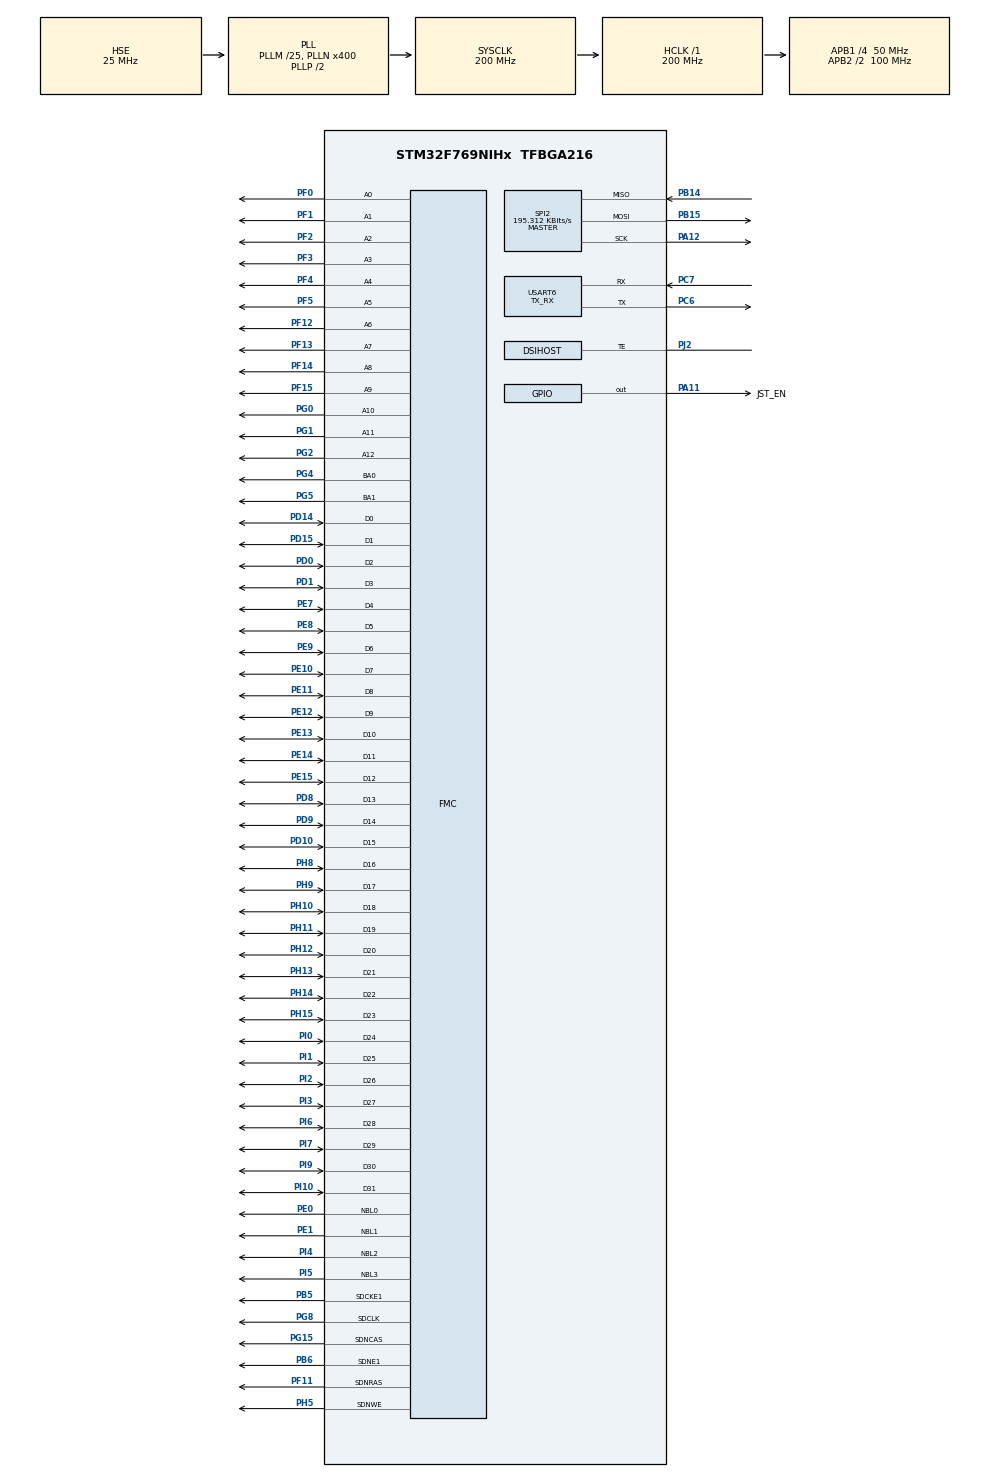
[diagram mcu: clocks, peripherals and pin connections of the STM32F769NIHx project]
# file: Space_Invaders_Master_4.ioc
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CORTEX_M7.CPU_DCache=Enabled
CORTEX_M7.CPU_ICache=Enabled
DSIHOST_CKN.Mode=DSIHost_Adapted_TE
DSIHOST_CKN.Signal=DSIHOST_CKN
DSIHOST_CKP.Mode=DSIHost_Adapted_TE
DSIHOST_CKP.Signal=DSIHOST_CKP
DSIHOST_D0N.Mode=DSIHost_Adapted_TE
DSIHOST_D0N.Signal=DSIHOST_D0N
DSIHOST_D0P.Mode=DSIHost_Adapted_TE
DSIHOST_D0P.Signal=DSIHOST_D0P
DSIHOST_D1N.Mode=DSIHost_Adapted_TE
DSIHOST_D1N.Signal=DSIHOST_D1N
DSIHOST_D1P.Mode=DSIHost_Adapted_TE
DSIHOST_D1P.Signal=DSIHOST_D1P
Dma.Request0=USART6_RX
Dma.Request1=USART6_TX
Dma.USART6_RX.0.Direction=DMA_PERIPH_TO_MEMORY
Dma.USART6_RX.0.FIFOMode=DMA_FIFOMODE_DISABLE
Dma.USART6_RX.0.Instance=DMA2_Stream1
Dma.USART6_RX.0.MemDataAlignment=DMA_MDATAALIGN_BYTE
Dma.USART6_RX.0.MemInc=DMA_MINC_ENABLE
Dma.USART6_RX.0.Mode=DMA_CIRCULAR
Dma.USART6_RX.0.PeriphDataAlignment=DMA_PDATAALIGN_BYTE
Dma.USART6_RX.0.PeriphInc=DMA_PINC_DISABLE
Dma.USART6_RX.0.Priority=DMA_PRIORITY_LOW
Dma.USART6_TX.1.Direction=DMA_MEMORY_TO_PERIPH
Dma.USART6_TX.1.FIFOMode=DMA_FIFOMODE_DISABLE
Dma.USART6_TX.1.Instance=DMA2_Stream6
Dma.USART6_TX.1.MemDataAlignment=DMA_MDATAALIGN_BYTE
Dma.USART6_TX.1.MemInc=DMA_MINC_ENABLE
Dma.USART6_TX.1.Mode=DMA_CIRCULAR
Dma.USART6_TX.1.PeriphDataAlignment=DMA_PDATAALIGN_BYTE
Dma.USART6_TX.1.PeriphInc=DMA_PINC_DISABLE
Dma.USART6_TX.1.Priority=DMA_PRIORITY_LOW
FREERTOS.INCLUDE_vTaskDelayUntil=1
FREERTOS.Tasks01=IdleTask,-3,128,StartIdleTask,Default,NULL,Dynamic,NULL,NULL
Mcu.Family=STM32F7
Mcu.Name=STM32F769NIHx
Mcu.Package=TFBGA216
NVIC.DMA2_Stream1_IRQn=true\:5\:0\:false\:false\:true\:true\:false\:true
NVIC.DMA2_Stream6_IRQn=true\:5\:0\:false\:false\:true\:true\:false\:true
NVIC.PriorityGroup=NVIC_PRIORITYGROUP_4
NVIC.TIM7_IRQn=true\:0\:0\:false\:false\:true\:false\:false\:true
NVIC.TimeBase=TIM7_IRQn
NVIC.TimeBaseIP=TIM7
NVIC.USART6_IRQn=true\:5\:0\:false\:false\:true\:true\:true\:true
PA11.GPIO_Label=JST_EN
PA11.PinState=GPIO_PIN_SET
PA11.Signal=GPIO_Output
PA12.Mode=Full_Duplex_Master
PA12.Signal=SPI2_SCK
PB14.Mode=Full_Duplex_Master
PB14.Signal=SPI2_MISO
PB15.Mode=Full_Duplex_Master
PB15.Signal=SPI2_MOSI
PB5.Mode=SdramChipSelect2_1
PB5.Signal=FMC_SDCKE1
PB6.Mode=SdramChipSelect2_1
PB6.Signal=FMC_SDNE1
PC6.GPIO_Speed=GPIO_SPEED_FREQ_VERY_HIGH
PC6.Mode=Asynchronous
PC6.Signal=USART6_TX
PC7.Mode=Asynchronous
PC7.Signal=USART6_RX
PD0.Signal=FMC_D2_DA2
PD1.Signal=FMC_D3_DA3
PD10.Signal=FMC_D15_DA15
PD14.Signal=FMC_D0_DA0
PD15.Signal=FMC_D1_DA1
PD8.Signal=FMC_D13_DA13
PD9.Signal=FMC_D14_DA14
PE0.Signal=FMC_NBL0
PE1.Signal=FMC_NBL1
PE10.Signal=FMC_D7_DA7
PE11.Signal=FMC_D8_DA8
PE12.Signal=FMC_D9_DA9
PE13.Signal=FMC_D10_DA10
PE14.Signal=FMC_D11_DA11
PE15.Signal=FMC_D12_DA12
PE7.Signal=FMC_D4_DA4
PE8.Signal=FMC_D5_DA5
PE9.Signal=FMC_D6_DA6
PF0.Signal=FMC_A0
PF1.Signal=FMC_A1
PF11.Signal=FMC_SDNRAS
PF12.Signal=FMC_A6
PF13.Signal=FMC_A7
PF14.Signal=FMC_A8
PF15.Signal=FMC_A9
PF2.Signal=FMC_A2
PF3.Signal=FMC_A3
PF4.Signal=FMC_A4
PF5.Signal=FMC_A5
PG0.Signal=FMC_A10
PG1.Signal=FMC_A11
PG15.Signal=FMC_SDNCAS
PG2.Signal=FMC_A12
PG4.Signal=FMC_A14_BA0
PG5.Signal=FMC_A15_BA1
PG8.Signal=FMC_SDCLK
PH0/OSC_IN.Mode=HSE-External-Oscillator
PH0/OSC_IN.Signal=RCC_OSC_IN
PH1/OSC_OUT.Mode=HSE-External-Oscillator
PH1/OSC_OUT.Signal=RCC_OSC_OUT
PH10.Signal=FMC_D18
PH11.Signal=FMC_D19
PH12.Signal=FMC_D20
PH13.Signal=FMC_D21
PH14.Signal=FMC_D22
PH15.Signal=FMC_D23
PH5.Signal=FMC_SDNWE
PH8.Signal=FMC_D16
PH9.Signal=FMC_D17
PI0.Signal=FMC_D24
PI1.Signal=FMC_D25
PI10.Signal=FMC_D31
PI2.Signal=FMC_D26
PI3.Signal=FMC_D27
PI4.Signal=FMC_NBL2
PI5.Signal=FMC_NBL3
PI6.Signal=FMC_D28
PI7.Signal=FMC_D29
PI9.Signal=FMC_D30
PJ2.Mode=DSIHost_Adapted_TE
PJ2.Signal=DSIHOST_TE
ProjectManager.HeapSize=0x200
ProjectManager.StackSize=0x400
ProjectManager.TargetToolchain=STM32CubeIDE
RCC.AHBFreq_Value=200000000
RCC.APB1CLKDivider=RCC_HCLK_DIV4
RCC.APB1Freq_Value=50000000
RCC.APB1TimFreq_Value=100000000
RCC.APB2CLKDivider=RCC_HCLK_DIV2
RCC.APB2Freq_Value=100000000
RCC.APB2TimFreq_Value=200000000
RCC.CortexFreq_Value=200000000
RCC.HCLKFreq_Value=200000000
RCC.HSE_VALUE=25000000
RCC.HSI_VALUE=16000000
RCC.LSE_VALUE=32768
RCC.PLLI2SN=96
RCC.PLLM=25
RCC.PLLN=400
RCC.PLLR=7
RCC.PLLSourceVirtual=RCC_PLLSOURCE_HSE
RCC.SYSCLKFreq_VALUE=200000000
RCC.SYSCLKSource=RCC_SYSCLKSOURCE_PLLCLK
RCC.USBFreq_Value=200000000
RCC.VCOOutputFreq_Value=400000000
SH.FMC_A0.0=FMC_A0,13b-sda1
SH.FMC_A1.0=FMC_A1,13b-sda1
SH.FMC_A10.0=FMC_A10,13b-sda1
SH.FMC_A11.0=FMC_A11,13b-sda1
SH.FMC_A12.0=FMC_A12,13b-sda1
SH.FMC_A14_BA0.0=FMC_BA0,FourSdramBanks1
SH.FMC_A15_BA1.0=FMC_BA1,FourSdramBanks1
SH.FMC_A2.0=FMC_A2,13b-sda1
SH.FMC_A3.0=FMC_A3,13b-sda1
SH.FMC_A4.0=FMC_A4,13b-sda1
SH.FMC_A5.0=FMC_A5,13b-sda1
SH.FMC_A6.0=FMC_A6,13b-sda1
SH.FMC_A7.0=FMC_A7,13b-sda1
SH.FMC_A8.0=FMC_A8,13b-sda1
SH.FMC_A9.0=FMC_A9,13b-sda1
SH.FMC_D0_DA0.0=FMC_D0,sd-32b-d1
SH.FMC_D10_DA10.0=FMC_D10,sd-32b-d1
SH.FMC_D11_DA11.0=FMC_D11,sd-32b-d1
SH.FMC_D12_DA12.0=FMC_D12,sd-32b-d1
SH.FMC_D13_DA13.0=FMC_D13,sd-32b-d1
SH.FMC_D14_DA14.0=FMC_D14,sd-32b-d1
SH.FMC_D15_DA15.0=FMC_D15,sd-32b-d1
SH.FMC_D16.0=FMC_D16,sd-32b-d1
SH.FMC_D17.0=FMC_D17,sd-32b-d1
SH.FMC_D18.0=FMC_D18,sd-32b-d1
SH.FMC_D19.0=FMC_D19,sd-32b-d1
SH.FMC_D1_DA1.0=FMC_D1,sd-32b-d1
SH.FMC_D20.0=FMC_D20,sd-32b-d1
SH.FMC_D21.0=FMC_D21,sd-32b-d1
SH.FMC_D22.0=FMC_D22,sd-32b-d1
SH.FMC_D23.0=FMC_D23,sd-32b-d1
SH.FMC_D24.0=FMC_D24,sd-32b-d1
SH.FMC_D25.0=FMC_D25,sd-32b-d1
SH.FMC_D26.0=FMC_D26,sd-32b-d1
SH.FMC_D27.0=FMC_D27,sd-32b-d1
SH.FMC_D28.0=FMC_D28,sd-32b-d1
SH.FMC_D29.0=FMC_D29,sd-32b-d1
SH.FMC_D2_DA2.0=FMC_D2,sd-32b-d1
SH.FMC_D30.0=FMC_D30,sd-32b-d1
SH.FMC_D31.0=FMC_D31,sd-32b-d1
SH.FMC_D3_DA3.0=FMC_D3,sd-32b-d1
SH.FMC_D4_DA4.0=FMC_D4,sd-32b-d1
SH.FMC_D5_DA5.0=FMC_D5,sd-32b-d1
SH.FMC_D6_DA6.0=FMC_D6,sd-32b-d1
SH.FMC_D7_DA7.0=FMC_D7,sd-32b-d1
SH.FMC_D8_DA8.0=FMC_D8,sd-32b-d1
SH.FMC_D9_DA9.0=FMC_D9,sd-32b-d1
SH.FMC_NBL0.0=FMC_NBL0,Sd4ByteEnable1
SH.FMC_NBL1.0=FMC_NBL1,Sd4ByteEnable1
SH.FMC_NBL2.0=FMC_NBL2,Sd4ByteEnable1
SH.FMC_NBL3.0=FMC_NBL3,Sd4ByteEnable1
SH.FMC_SDCLK.0=FMC_SDCLK,13b-sda1
SH.FMC_SDNCAS.0=FMC_SDNCAS,13b-sda1
SH.FMC_SDNRAS.0=FMC_SDNRAS,13b-sda1
SH.FMC_SDNWE.0=FMC_SDNWE,13b-sda1
SPI2.BaudRatePrescaler=SPI_BAUDRATEPRESCALER_256
SPI2.CLKPhase=SPI_PHASE_1EDGE
SPI2.CalculateBaudRate=195.312 KBits/s
SPI2.DataSize=SPI_DATASIZE_8BIT
SPI2.Direction=SPI_DIRECTION_2LINES
SPI2.Mode=SPI_MODE_MASTER
SPI2.NSSPMode=SPI_NSS_PULSE_ENABLE
SPI2.VirtualType=VM_MASTER
USART6.DMADisableonRxErrorParam=ADVFEATURE_DMA_DISABLEONRXERROR
USART6.Mode=MODE_TX_RX
USART6.OverrunDisableParam=ADVFEATURE_OVERRUN_DISABLE
USART6.VirtualMode-Asynchronous=VM_ASYNC
VP_DMA2D_VS_DMA2D.Mode=DMA2D_Activate
VP_FREERTOS_VS_CMSIS_V1.Mode=CMSIS_V1
VP_LTDC_DSIMode.Mode=RGB888
VP_SYS_VS_tim7.Mode=TIM7
board=STM32F769I-DISCO

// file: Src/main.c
/* USER CODE BEGIN Header */
/**
 ******************************************************************************
 * @file           : main.c
 * @brief          : Main program body
 ******************************************************************************
 * @attention
 *
 * <h2><center>&copy; Copyright (c) 2019 STMicroelectronics.
 * All rights reserved.</center></h2>
 *
 * This software component is licensed by ST under BSD 3-Clause license,
 * the "License"; You may not use this file except in compliance with the
 * License. You may obtain a copy of the License at:
 *                        opensource.org/licenses/BSD-3-Clause
 *
 ******************************************************************************
 */
/* USER CODE END Header */

#include "main.h"
#include "cmsis_os.h"

/* USER CODE BEGIN Includes */
#include "stm32f769i_discovery.h"
#include "stm32f769i_discovery_lcd.h"
#include <stdio.h>
#include <stdbool.h>
#include "bmp_lib.h"
//#include "invader_0.h"
/* USER CODE END Includes */

/* USER CODE BEGIN PTD */
typedef enum id {
	X_AXIS,
	A_BUTTON
}Id;

typedef struct joystick {
	Id id;
	uint8_t val;

}Joystick;

typedef enum status {
	OFF,
	DESTROYED,
	SHOT,
	LIVE
}Status;

typedef struct invader {
	Status status;
	uint16_t x;
	uint16_t y;
}Invader;

/* USER CODE END PTD */

DMA2D_HandleTypeDef hdma2d;

DSI_HandleTypeDef hdsi;

LTDC_HandleTypeDef hltdc;

SPI_HandleTypeDef hspi2;

UART_HandleTypeDef huart6;
DMA_HandleTypeDef hdma_usart6_rx;
DMA_HandleTypeDef hdma_usart6_tx;

SDRAM_HandleTypeDef hsdram1;

osThreadId IdleTaskHandle;
/* USER CODE BEGIN PV */
const uint8_t x_unit_px = 6;
const uint8_t y_unit_px = 20;
Invader invader[11][5];
bool flag_endgame = true;
bool flag_tx_DMA = false;
bool flag_half_tx_DMA = false;
bool flag_rx_DMA = false;
bool flag_half_rx_DMA = false;
uint8_t data2receive[4];
uint8_t data2send[200];
uint16_t x_master = 300;
uint16_t y_master = 460;
uint16_t x_laser;
uint16_t y_laser;

char a[100];
char x[100];
char y[100];
//uint16_t joy_master = 0;
//uint16_t button_joy_master;

//uint16_t y_slave = 460;

//uint16_t y_laser_2;

/* USER CODE END PV */

void SystemClock_Config(void);
static void MX_GPIO_Init(void);
static void MX_DMA_Init(void);
static void MX_DMA2D_Init(void);
static void MX_FMC_Init(void);
static void MX_LTDC_Init(void);
static void MX_DSIHOST_DSI_Init(void);
static void MX_USART6_UART_Init(void);
static void MX_SPI2_Init(void);
void StartIdleTask(void const * argument);

/* USER CODE BEGIN PFP */
static void LCD_Config(void);
void get_joystick_master_SPI_sdr(void * parameters);
void receive_slave_joystick_UART(void * parameters);
void send_slave_UART(void * parameters);
void cannon_master_rcv(void * parameters);
void cannon_slave_rcv(void * parameters);
void invaders_sdr (void *parameters);
//void send_slave(void);
//void get_joystick_master(void * parameters);
//void lcd_cannon_player_1(void);
//void lcd_cannon_player_2(void);
//void lcd_laser_1(void);
//void lcd_laser_2(void);
//void lcd_laser_1 (void* parameters);
//void lcd_cannon_player_1 (void* parameters);

/* USER CODE END PFP */

/* USER CODE BEGIN 0 */
xQueueHandle xQueue_joy_master;
xQueueHandle xQueue_joy_slave;
xQueueHandle xQueue_invaders;

/* USER CODE END 0 */

int main(void)
{

  /* Enable I-Cache---------------------------------------------------------*/
  SCB_EnableICache();

  /* Enable D-Cache---------------------------------------------------------*/
  SCB_EnableDCache();

  /* MCU Configuration--------------------------------------------------------*/

  /* Reset of all peripherals, Initializes the Flash interface and the Systick. */
  HAL_Init();

  /* Configure the system clock */
  SystemClock_Config();

  /* Initialize all configured peripherals */
  MX_GPIO_Init();
  MX_DMA_Init();
  MX_DMA2D_Init();
  MX_FMC_Init();
  MX_LTDC_Init();
  MX_DSIHOST_DSI_Init();
  MX_USART6_UART_Init();
  MX_SPI2_Init();
  /* USER CODE BEGIN 2 */
	//
	//  BSP_LED_Init(LED1);
	BSP_LED_Init(LED2);

	//  BSP_PB_Init(BUTTON_USER, BUTTON_MODE_GPIO);
	LCD_Config();

  /* USER CODE END 2 */

  /* USER CODE BEGIN RTOS_QUEUES */
	/* add queues, ... */
	xQueue_joy_slave = xQueueCreate(10, sizeof(Joystick));
	xQueue_joy_master = xQueueCreate(10, sizeof(Joystick));
	xQueue_invaders = xQueueCreate(10, sizeof(Invader));
  /* USER CODE END RTOS_QUEUES */

  /* Create the thread(s) */
  /* definition and creation of IdleTask */
  osThreadDef(IdleTask, StartIdleTask, osPriorityIdle, 0, 128);
  IdleTaskHandle = osThreadCreate(osThread(IdleTask), NULL);

  /* USER CODE BEGIN RTOS_THREADS */
	/* add threads, ... */
	//if (xQueue_joy_slave != NULL) {

  	xTaskCreate(get_joystick_master_SPI_sdr, "get Joystick MASTER SPI", 400, NULL, tskIDLE_PRIORITY + 3, NULL);
	xTaskCreate(receive_slave_joystick_UART, "get Joystick Slave UART", 400, NULL, tskIDLE_PRIORITY + 3, NULL);
	xTaskCreate(send_slave_UART, "Send to Slave", 400, NULL, tskIDLE_PRIORITY + 3, NULL);
	xTaskCreate(cannon_master_rcv, "Joystick_master input", 400, NULL, tskIDLE_PRIORITY + 2, NULL);
	xTaskCreate(cannon_slave_rcv, "Joystick Slave input", 400, NULL, tskIDLE_PRIORITY + 2, NULL);
	xTaskCreate(invaders_sdr,"Invaders", 1000, NULL, tskIDLE_PRIORITY + 1, NULL);

  /* USER CODE END RTOS_THREADS */

  /* Start scheduler */
  osKernelStart();

  /* We should never get here as control is now taken by the scheduler */

  /* Infinite loop */
  /* USER CODE BEGIN WHILE */
	//}

	while (1)
	{

    /* USER CODE END WHILE */

	}
}

void SystemClock_Config(void)
{
  RCC_OscInitTypeDef RCC_OscInitStruct = {0};
  RCC_ClkInitTypeDef RCC_ClkInitStruct = {0};
  RCC_PeriphCLKInitTypeDef PeriphClkInitStruct = {0};

  /** Configure the main internal regulator output voltage
  */
  __HAL_RCC_PWR_CLK_ENABLE();
  __HAL_PWR_VOLTAGESCALING_CONFIG(PWR_REGULATOR_VOLTAGE_SCALE1);
  /** Initializes the CPU, AHB and APB busses clocks
  */
  RCC_OscInitStruct.OscillatorType = RCC_OSCILLATORTYPE_HSE;
  RCC_OscInitStruct.HSEState = RCC_HSE_ON;
  RCC_OscInitStruct.PLL.PLLState = RCC_PLL_ON;
  RCC_OscInitStruct.PLL.PLLSource = RCC_PLLSOURCE_HSE;
  RCC_OscInitStruct.PLL.PLLM = 25;
  RCC_OscInitStruct.PLL.PLLN = 400;
  RCC_OscInitStruct.PLL.PLLP = RCC_PLLP_DIV2;
  RCC_OscInitStruct.PLL.PLLQ = 2;
  if (HAL_RCC_OscConfig(&RCC_OscInitStruct) != HAL_OK)
  {
    Error_Handler();
  }
  /** Activate the Over-Drive mode
  */
  if (HAL_PWREx_EnableOverDrive() != HAL_OK)
  {
    Error_Handler();
  }
  /** Initializes the CPU, AHB and APB busses clocks
  */
  RCC_ClkInitStruct.ClockType = RCC_CLOCKTYPE_HCLK|RCC_CLOCKTYPE_SYSCLK
                              |RCC_CLOCKTYPE_PCLK1|RCC_CLOCKTYPE_PCLK2;
  RCC_ClkInitStruct.SYSCLKSource = RCC_SYSCLKSOURCE_PLLCLK;
  RCC_ClkInitStruct.AHBCLKDivider = RCC_SYSCLK_DIV1;
  RCC_ClkInitStruct.APB1CLKDivider = RCC_HCLK_DIV4;
  RCC_ClkInitStruct.APB2CLKDivider = RCC_HCLK_DIV2;

  if (HAL_RCC_ClockConfig(&RCC_ClkInitStruct, FLASH_LATENCY_6) != HAL_OK)
  {
    Error_Handler();
  }
  PeriphClkInitStruct.PeriphClockSelection = RCC_PERIPHCLK_LTDC|RCC_PERIPHCLK_USART6;
  PeriphClkInitStruct.PLLSAI.PLLSAIN = 192;
  PeriphClkInitStruct.PLLSAI.PLLSAIR = 2;
  PeriphClkInitStruct.PLLSAI.PLLSAIQ = 2;
  PeriphClkInitStruct.PLLSAI.PLLSAIP = RCC_PLLSAIP_DIV2;
  PeriphClkInitStruct.PLLSAIDivQ = 1;
  PeriphClkInitStruct.PLLSAIDivR = RCC_PLLSAIDIVR_2;
  PeriphClkInitStruct.Usart6ClockSelection = RCC_USART6CLKSOURCE_PCLK2;
  if (HAL_RCCEx_PeriphCLKConfig(&PeriphClkInitStruct) != HAL_OK)
  {
    Error_Handler();
  }
}

static void MX_DMA2D_Init(void)
{

  hdma2d.Instance = DMA2D;
  hdma2d.Init.Mode = DMA2D_M2M;
  hdma2d.Init.ColorMode = DMA2D_OUTPUT_ARGB8888;
  hdma2d.Init.OutputOffset = 0;
  hdma2d.LayerCfg[1].InputOffset = 0;
  hdma2d.LayerCfg[1].InputColorMode = DMA2D_INPUT_ARGB8888;
  hdma2d.LayerCfg[1].AlphaMode = DMA2D_NO_MODIF_ALPHA;
  hdma2d.LayerCfg[1].InputAlpha = 0;
  hdma2d.LayerCfg[1].AlphaInverted = DMA2D_REGULAR_ALPHA;
  hdma2d.LayerCfg[1].RedBlueSwap = DMA2D_RB_REGULAR;
  if (HAL_DMA2D_Init(&hdma2d) != HAL_OK)
  {
    Error_Handler();
  }
  if (HAL_DMA2D_ConfigLayer(&hdma2d, 1) != HAL_OK)
  {
    Error_Handler();
  }

}

static void MX_DSIHOST_DSI_Init(void)
{

  DSI_PLLInitTypeDef PLLInit = {0};
  DSI_HOST_TimeoutTypeDef HostTimeouts = {0};
  DSI_PHY_TimerTypeDef PhyTimings = {0};
  DSI_LPCmdTypeDef LPCmd = {0};
  DSI_CmdCfgTypeDef CmdCfg = {0};

  hdsi.Instance = DSI;
  hdsi.Init.AutomaticClockLaneControl = DSI_AUTO_CLK_LANE_CTRL_DISABLE;
  hdsi.Init.TXEscapeCkdiv = 4;
  hdsi.Init.NumberOfLanes = DSI_ONE_DATA_LANE;
  PLLInit.PLLNDIV = 20;
  PLLInit.PLLIDF = DSI_PLL_IN_DIV1;
  PLLInit.PLLODF = DSI_PLL_OUT_DIV1;
  if (HAL_DSI_Init(&hdsi, &PLLInit) != HAL_OK)
  {
    Error_Handler();
  }
  HostTimeouts.TimeoutCkdiv = 1;
  HostTimeouts.HighSpeedTransmissionTimeout = 0;
  HostTimeouts.LowPowerReceptionTimeout = 0;
  HostTimeouts.HighSpeedReadTimeout = 0;
  HostTimeouts.LowPowerReadTimeout = 0;
  HostTimeouts.HighSpeedWriteTimeout = 0;
  HostTimeouts.HighSpeedWritePrespMode = DSI_HS_PM_DISABLE;
  HostTimeouts.LowPowerWriteTimeout = 0;
  HostTimeouts.BTATimeout = 0;
  if (HAL_DSI_ConfigHostTimeouts(&hdsi, &HostTimeouts) != HAL_OK)
  {
    Error_Handler();
  }
  PhyTimings.ClockLaneHS2LPTime = 28;
  PhyTimings.ClockLaneLP2HSTime = 33;
  PhyTimings.DataLaneHS2LPTime = 15;
  PhyTimings.DataLaneLP2HSTime = 25;
  PhyTimings.DataLaneMaxReadTime = 0;
  PhyTimings.StopWaitTime = 0;
  if (HAL_DSI_ConfigPhyTimer(&hdsi, &PhyTimings) != HAL_OK)
  {
    Error_Handler();
  }
  if (HAL_DSI_ConfigFlowControl(&hdsi, DSI_FLOW_CONTROL_BTA) != HAL_OK)
  {
    Error_Handler();
  }
  if (HAL_DSI_SetLowPowerRXFilter(&hdsi, 10000) != HAL_OK)
  {
    Error_Handler();
  }
  if (HAL_DSI_ConfigErrorMonitor(&hdsi, HAL_DSI_ERROR_NONE) != HAL_OK)
  {
    Error_Handler();
  }
  LPCmd.LPGenShortWriteNoP = DSI_LP_GSW0P_DISABLE;
  LPCmd.LPGenShortWriteOneP = DSI_LP_GSW1P_DISABLE;
  LPCmd.LPGenShortWriteTwoP = DSI_LP_GSW2P_DISABLE;
  LPCmd.LPGenShortReadNoP = DSI_LP_GSR0P_DISABLE;
  LPCmd.LPGenShortReadOneP = DSI_LP_GSR1P_DISABLE;
  LPCmd.LPGenShortReadTwoP = DSI_LP_GSR2P_DISABLE;
  LPCmd.LPGenLongWrite = DSI_LP_GLW_DISABLE;
  LPCmd.LPDcsShortWriteNoP = DSI_LP_DSW0P_DISABLE;
  LPCmd.LPDcsShortWriteOneP = DSI_LP_DSW1P_DISABLE;
  LPCmd.LPDcsShortReadNoP = DSI_LP_DSR0P_DISABLE;
  LPCmd.LPDcsLongWrite = DSI_LP_DLW_DISABLE;
  LPCmd.LPMaxReadPacket = DSI_LP_MRDP_DISABLE;
  LPCmd.AcknowledgeRequest = DSI_ACKNOWLEDGE_DISABLE;
  if (HAL_DSI_ConfigCommand(&hdsi, &LPCmd) != HAL_OK)
  {
    Error_Handler();
  }
  CmdCfg.VirtualChannelID = 0;
  CmdCfg.ColorCoding = DSI_RGB888;
  CmdCfg.CommandSize = 640;
  CmdCfg.TearingEffectSource = DSI_TE_EXTERNAL;
  CmdCfg.TearingEffectPolarity = DSI_TE_RISING_EDGE;
  CmdCfg.HSPolarity = DSI_HSYNC_ACTIVE_LOW;
  CmdCfg.VSPolarity = DSI_VSYNC_ACTIVE_LOW;
  CmdCfg.DEPolarity = DSI_DATA_ENABLE_ACTIVE_HIGH;
  CmdCfg.VSyncPol = DSI_VSYNC_FALLING;
  CmdCfg.AutomaticRefresh = DSI_AR_ENABLE;
  CmdCfg.TEAcknowledgeRequest = DSI_TE_ACKNOWLEDGE_DISABLE;
  if (HAL_DSI_ConfigAdaptedCommandMode(&hdsi, &CmdCfg) != HAL_OK)
  {
    Error_Handler();
  }
  if (HAL_DSI_SetGenericVCID(&hdsi, 0) != HAL_OK)
  {
    Error_Handler();
  }

}

static void MX_LTDC_Init(void)
{

  LTDC_LayerCfgTypeDef pLayerCfg = {0};
  LTDC_LayerCfgTypeDef pLayerCfg1 = {0};

  hltdc.Instance = LTDC;
  hltdc.Init.HSPolarity = LTDC_HSPOLARITY_AL;
  hltdc.Init.VSPolarity = LTDC_VSPOLARITY_AL;
  hltdc.Init.DEPolarity = LTDC_DEPOLARITY_AL;
  hltdc.Init.PCPolarity = LTDC_PCPOLARITY_IPC;
  hltdc.Init.HorizontalSync = 7;
  hltdc.Init.VerticalSync = 3;
  hltdc.Init.AccumulatedHBP = 14;
  hltdc.Init.AccumulatedVBP = 5;
  hltdc.Init.AccumulatedActiveW = 654;
  hltdc.Init.AccumulatedActiveH = 485;
  hltdc.Init.TotalWidth = 660;
  hltdc.Init.TotalHeigh = 487;
  hltdc.Init.Backcolor.Blue = 0;
  hltdc.Init.Backcolor.Green = 0;
  hltdc.Init.Backcolor.Red = 0;
  if (HAL_LTDC_Init(&hltdc) != HAL_OK)
  {
    Error_Handler();
  }
  pLayerCfg.WindowX0 = 0;
  pLayerCfg.WindowX1 = 0;
  pLayerCfg.WindowY0 = 0;
  pLayerCfg.WindowY1 = 0;
  pLayerCfg.PixelFormat = LTDC_PIXEL_FORMAT_ARGB8888;
  pLayerCfg.Alpha = 0;
  pLayerCfg.Alpha0 = 0;
  pLayerCfg.BlendingFactor1 = LTDC_BLENDING_FACTOR1_CA;
  pLayerCfg.BlendingFactor2 = LTDC_BLENDING_FACTOR2_CA;
  pLayerCfg.FBStartAdress = 0;
  pLayerCfg.ImageWidth = 0;
  pLayerCfg.ImageHeight = 0;
  pLayerCfg.Backcolor.Blue = 0;
  pLayerCfg.Backcolor.Green = 0;
  pLayerCfg.Backcolor.Red = 0;
  if (HAL_LTDC_ConfigLayer(&hltdc, &pLayerCfg, 0) != HAL_OK)
  {
    Error_Handler();
  }
  pLayerCfg1.WindowX0 = 0;
  pLayerCfg1.WindowX1 = 0;
  pLayerCfg1.WindowY0 = 0;
  pLayerCfg1.WindowY1 = 0;
  pLayerCfg1.PixelFormat = LTDC_PIXEL_FORMAT_ARGB8888;
  pLayerCfg1.Alpha = 0;
  pLayerCfg1.Alpha0 = 0;
  pLayerCfg1.BlendingFactor1 = LTDC_BLENDING_FACTOR1_CA;
  pLayerCfg1.BlendingFactor2 = LTDC_BLENDING_FACTOR2_CA;
  pLayerCfg1.FBStartAdress = 0;
  pLayerCfg1.ImageWidth = 0;
  pLayerCfg1.ImageHeight = 0;
  pLayerCfg1.Backcolor.Blue = 0;
  pLayerCfg1.Backcolor.Green = 0;
  pLayerCfg1.Backcolor.Red = 0;
  if (HAL_LTDC_ConfigLayer(&hltdc, &pLayerCfg1, 1) != HAL_OK)
  {
    Error_Handler();
  }

}

static void MX_SPI2_Init(void)
{

  /* SPI2 parameter configuration*/
  hspi2.Instance = SPI2;
  hspi2.Init.Mode = SPI_MODE_MASTER;
  hspi2.Init.Direction = SPI_DIRECTION_2LINES;
  hspi2.Init.DataSize = SPI_DATASIZE_8BIT;
  hspi2.Init.CLKPolarity = SPI_POLARITY_LOW;
  hspi2.Init.CLKPhase = SPI_PHASE_1EDGE;
  hspi2.Init.NSS = SPI_NSS_SOFT;
  hspi2.Init.BaudRatePrescaler = SPI_BAUDRATEPRESCALER_256;
  hspi2.Init.FirstBit = SPI_FIRSTBIT_MSB;
  hspi2.Init.TIMode = SPI_TIMODE_DISABLE;
  hspi2.Init.CRCCalculation = SPI_CRCCALCULATION_DISABLE;
  hspi2.Init.CRCPolynomial = 7;
  hspi2.Init.CRCLength = SPI_CRC_LENGTH_DATASIZE;
  hspi2.Init.NSSPMode = SPI_NSS_PULSE_ENABLE;
  if (HAL_SPI_Init(&hspi2) != HAL_OK)
  {
    Error_Handler();
  }

}

static void MX_USART6_UART_Init(void)
{

  huart6.Instance = USART6;
  huart6.Init.BaudRate = 115200;
  huart6.Init.WordLength = UART_WORDLENGTH_8B;
  huart6.Init.StopBits = UART_STOPBITS_1;
  huart6.Init.Parity = UART_PARITY_NONE;
  huart6.Init.Mode = UART_MODE_TX_RX;
  huart6.Init.HwFlowCtl = UART_HWCONTROL_NONE;
  huart6.Init.OverSampling = UART_OVERSAMPLING_16;
  huart6.Init.OneBitSampling = UART_ONE_BIT_SAMPLE_DISABLE;
  huart6.AdvancedInit.AdvFeatureInit = UART_ADVFEATURE_RXOVERRUNDISABLE_INIT|UART_ADVFEATURE_DMADISABLEONERROR_INIT;
  huart6.AdvancedInit.OverrunDisable = UART_ADVFEATURE_OVERRUN_DISABLE;
  huart6.AdvancedInit.DMADisableonRxError = UART_ADVFEATURE_DMA_DISABLEONRXERROR;
  if (HAL_UART_Init(&huart6) != HAL_OK)
  {
    Error_Handler();
  }

}

static void MX_DMA_Init(void)
{
  /* DMA controller clock enable */
  __HAL_RCC_DMA2_CLK_ENABLE();

  /* DMA interrupt init */
  /* DMA2_Stream1_IRQn interrupt configuration */
  HAL_NVIC_SetPriority(DMA2_Stream1_IRQn, 5, 0);
  HAL_NVIC_EnableIRQ(DMA2_Stream1_IRQn);
  /* DMA2_Stream6_IRQn interrupt configuration */
  HAL_NVIC_SetPriority(DMA2_Stream6_IRQn, 5, 0);
  HAL_NVIC_EnableIRQ(DMA2_Stream6_IRQn);

}
/* FMC initialization function */
static void MX_FMC_Init(void)
{

  FMC_SDRAM_TimingTypeDef SdramTiming = {0};

  /** Perform the SDRAM1 memory initialization sequence
  */
  hsdram1.Instance = FMC_SDRAM_DEVICE;
  /* hsdram1.Init */
  hsdram1.Init.SDBank = FMC_SDRAM_BANK2;
  hsdram1.Init.ColumnBitsNumber = FMC_SDRAM_COLUMN_BITS_NUM_8;
  hsdram1.Init.RowBitsNumber = FMC_SDRAM_ROW_BITS_NUM_13;
  hsdram1.Init.MemoryDataWidth = FMC_SDRAM_MEM_BUS_WIDTH_32;
  hsdram1.Init.InternalBankNumber = FMC_SDRAM_INTERN_BANKS_NUM_4;
  hsdram1.Init.CASLatency = FMC_SDRAM_CAS_LATENCY_1;
  hsdram1.Init.WriteProtection = FMC_SDRAM_WRITE_PROTECTION_DISABLE;
  hsdram1.Init.SDClockPeriod = FMC_SDRAM_CLOCK_DISABLE;
  hsdram1.Init.ReadBurst = FMC_SDRAM_RBURST_DISABLE;
  hsdram1.Init.ReadPipeDelay = FMC_SDRAM_RPIPE_DELAY_0;
  /* SdramTiming */
  SdramTiming.LoadToActiveDelay = 16;
  SdramTiming.ExitSelfRefreshDelay = 16;
  SdramTiming.SelfRefreshTime = 16;
  SdramTiming.RowCycleDelay = 16;
  SdramTiming.WriteRecoveryTime = 16;
  SdramTiming.RPDelay = 16;
  SdramTiming.RCDDelay = 16;

  if (HAL_SDRAM_Init(&hsdram1, &SdramTiming) != HAL_OK)
  {
    Error_Handler( );
  }

}

static void MX_GPIO_Init(void)
{
  GPIO_InitTypeDef GPIO_InitStruct = {0};

  /* GPIO Ports Clock Enable */
  __HAL_RCC_GPIOE_CLK_ENABLE();
  __HAL_RCC_GPIOB_CLK_ENABLE();
  __HAL_RCC_GPIOG_CLK_ENABLE();
  __HAL_RCC_GPIOD_CLK_ENABLE();
  __HAL_RCC_GPIOA_CLK_ENABLE();
  __HAL_RCC_GPIOI_CLK_ENABLE();
  __HAL_RCC_GPIOF_CLK_ENABLE();
  __HAL_RCC_GPIOH_CLK_ENABLE();
  __HAL_RCC_GPIOC_CLK_ENABLE();
  __HAL_RCC_GPIOJ_CLK_ENABLE();

  /*Configure GPIO pin Output Level */
  HAL_GPIO_WritePin(JST_EN_GPIO_Port, JST_EN_Pin, GPIO_PIN_SET);

  /*Configure GPIO pin : JST_EN_Pin */
  GPIO_InitStruct.Pin = JST_EN_Pin;
  GPIO_InitStruct.Mode = GPIO_MODE_OUTPUT_PP;
  GPIO_InitStruct.Pull = GPIO_NOPULL;
  GPIO_InitStruct.Speed = GPIO_SPEED_FREQ_LOW;
  HAL_GPIO_Init(JST_EN_GPIO_Port, &GPIO_InitStruct);

}

/* USER CODE BEGIN 4 */
static void LCD_Config(void)
{
	uint32_t  lcd_status = LCD_OK;

	/* Initialize the LCD */
	lcd_status = BSP_LCD_Init();
	while(lcd_status != LCD_OK);

	BSP_LCD_LayerDefaultInit(0, LCD_FB_START_ADDRESS);

	/* Clear the LCD */
	//	BSP_LCD_Clear(LCD_COLOR_WHITE);
	//	BSP_LCD_SetTextColor(LCD_COLOR_BLACK);
	BSP_LCD_Clear(LCD_COLOR_BLACK);
	BSP_LCD_SetTextColor(LCD_COLOR_LIGHTGRAY);
	BSP_LCD_SetBackColor(LCD_COLOR_BLACK);
}

void get_joystick_master_SPI_sdr(void *parameters) { /* Receber X de Joystick de ARM Master*/
	Joystick joystick_x;
	joystick_x.id = X_AXIS;
	Joystick joystick_a;
	joystick_a.id = A_BUTTON;
	uint8_t spiTxBuff[5] = {0b10000011, 0, 0, 0, 0};
	uint8_t spiRxBuff[5];

	portTickType xNextWakeTime;
	const portTickType xTicksToWait = 0 / portTICK_RATE_MS;
	const portTickType xCycleFrequency = 20 / portTICK_RATE_MS;
	xNextWakeTime = xTaskGetTickCount ();

	for (;;){
		HAL_GPIO_WritePin(JST_EN_GPIO_Port, JST_EN_Pin, GPIO_PIN_RESET);
		HAL_SPI_TransmitReceive(&hspi2, spiTxBuff, spiRxBuff, 5, 100);
		HAL_GPIO_WritePin(JST_EN_GPIO_Port, JST_EN_Pin, GPIO_PIN_SET);

		joystick_x.val = ((spiRxBuff[1] << 8 ) + spiRxBuff[0]) /10;
		joystick_a.val = spiRxBuff[4];

		xQueueSendToBack(xQueue_joy_master, &joystick_x , xTicksToWait);
		xQueueSendToBack(xQueue_joy_master, &joystick_a , xTicksToWait);

		vTaskDelayUntil(&xNextWakeTime, xCycleFrequency);
	}
}

void cannon_master_rcv(void * parameters)  {
	Joystick joy_master;

	bool btn_joy_flag = false;
	bool laser_lcd_flag = false;

	for (;;){
		portBASE_TYPE xStatus=xQueueReceive(xQueue_joy_master, &joy_master, portMAX_DELAY);
		if(xStatus==pdTRUE) {
			if (flag_endgame == true) {
				if (joy_master.id == X_AXIS && joy_master.val < 30) {
					if (x_master < 200) {
						x_master = 200;
						BSP_LCD_SetTextColor(LCD_COLOR_BLACK);
						BSP_LCD_FillRect(x_master-4,y_master-1,40,20);

						BSP_LCD_DrawBitmap(x_master,y_master,cannon_master);

					}
					else {
						BSP_LCD_SetTextColor(LCD_COLOR_BLACK);
						BSP_LCD_FillRect(x_master-4,y_master-1,40,20);
						x_master = x_master - 2;

						BSP_LCD_DrawBitmap(x_master,y_master,cannon_master);
					}
				}else if (joy_master.id == X_AXIS && joy_master.val > 70) {
					if (x_master > 750) {
						x_master = 750;
						BSP_LCD_SetTextColor(LCD_COLOR_BLACK);
						BSP_LCD_FillRect(x_master-4,y_master-1,40,20);

						BSP_LCD_DrawBitmap(x_master,y_master,cannon_master);
					} else {
						BSP_LCD_SetTextColor(LCD_COLOR_BLACK);
											BSP_LCD_FillRect(x_master-4,y_master-1,40,20);
						x_master = x_master + 2;

						BSP_LCD_DrawBitmap(x_master,y_master,cannon_master);
					}
				}
				else {
					BSP_LCD_SetTextColor(LCD_COLOR_BLACK);
										BSP_LCD_FillRect(x_master-4,y_master-1,40,20);
					BSP_LCD_DrawBitmap(x_master,y_master,cannon_master);
				}

				if (laser_lcd_flag == false) {
					if (joy_master.id == A_BUTTON && (joy_master.val == 4 || joy_master.val == 2 )) {
						btn_joy_flag = true;
						x_laser = x_master + 14;
						y_laser = y_master -2;
					}
				}

				if (btn_joy_flag == true) {
					laser_lcd_flag = true;
					BSP_LCD_SetTextColor(LCD_COLOR_BLACK);
					BSP_LCD_FillRect(x_laser,y_laser,2,12);
					y_laser = y_laser - 4;
					BSP_LCD_SetTextColor(LCD_COLOR_GREEN);
					BSP_LCD_FillRect(x_laser,y_laser,2,12);

					for (int c = 0; c < 11; c++) {		//board init
						for (int l = 0; l < 5; l++) {
							if (invader[c][l].status == LIVE && x_laser >= invader[c][l].x && x_laser <= invader[c][l].x + 30 &&
									y_laser >= invader[c][l].y &&  y_laser <= invader[c][l].y + 25) {
								invader[c][l].status = SHOT;
								btn_joy_flag = false;
								laser_lcd_flag = false;
							}
						}
					}
					if (y_laser < 5 || y_laser > 480)  {
						BSP_LCD_DrawBitmap(x_laser-15,y_laser,laser_master_end);
						laser_lcd_flag = false;
					}
				}
			}
		}
		else {
			Error_Handler();
		}
	}
}

void cannon_slave_rcv(void * parameters)  {
	uint16_t x_slave = 500;
	uint16_t y_slave = 460;
	Joystick joy_slave;

	uint16_t x_laser;
	uint16_t y_laser;
	bool btn_joy_flag = false;
	bool laser_lcd_flag = false;

	for (;;){
		portBASE_TYPE xStatus=xQueueReceive(xQueue_joy_slave, &joy_slave, portMAX_DELAY);
		if(xStatus==pdTRUE) {
			if (flag_endgame == true) {
				if (joy_slave.id == X_AXIS && joy_slave.val < 10) {
					if (x_slave < 200) {
						x_slave = 200;
						BSP_LCD_SetTextColor(LCD_COLOR_BLACK);
						BSP_LCD_FillRect(x_slave-4,y_slave-1,40,20);
						BSP_LCD_DrawBitmap(x_slave,y_slave,cannon_slave);
					}
					else {
						BSP_LCD_SetTextColor(LCD_COLOR_BLACK);
												BSP_LCD_FillRect(x_slave-4,y_slave-1,40,20);
						x_slave = x_slave - 2;
						BSP_LCD_DrawBitmap(x_slave,y_slave,cannon_slave);
					}
				}else if (joy_slave.id == X_AXIS && joy_slave.val > 45) {
					if (x_slave > 750) {
						x_slave = 750;
						BSP_LCD_SetTextColor(LCD_COLOR_BLACK);
												BSP_LCD_FillRect(x_slave-4,y_slave-1,40,20);
						BSP_LCD_DrawBitmap(x_slave,y_slave,cannon_slave);
					} else {
						BSP_LCD_SetTextColor(LCD_COLOR_BLACK);
												BSP_LCD_FillRect(x_slave-4,y_slave-1,40,20);
						x_slave = x_slave + 2;
						BSP_LCD_DrawBitmap(x_slave,y_slave,cannon_slave);
					}
				}
				else {
					BSP_LCD_SetTextColor(LCD_COLOR_BLACK);
											BSP_LCD_FillRect(x_slave-4,y_slave-1,40,20);
					BSP_LCD_DrawBitmap(x_slave,y_slave,cannon_slave);
				}

				if (laser_lcd_flag == false) {
					if (joy_slave.id == A_BUTTON && joy_slave.val == 1 ) {
						btn_joy_flag = true;
						x_laser = x_slave + 14;
						y_laser = y_slave -2;
					}
				}
				if (btn_joy_flag == true) {
					laser_lcd_flag = true;
					BSP_LCD_SetTextColor(LCD_COLOR_BLACK);
					BSP_LCD_FillRect(x_laser,y_laser,2,12);
					y_laser = y_laser - 4;
					BSP_LCD_SetTextColor(LCD_COLOR_MAGENTA);
					BSP_LCD_FillRect(x_laser,y_laser,2,12);

					for (int c = 0; c < 11; c++) {		//board init
						for (int l = 0; l < 5; l++) {
							if (invader[c][l].status == LIVE && x_laser >= invader[c][l].x && x_laser <= invader[c][l].x + 30 &&
									y_laser >= invader[c][l].y &&  y_laser <= invader[c][l].y + 25) {
								invader[c][l].status = SHOT;
								btn_joy_flag = false;
								laser_lcd_flag = false;
							}
						}
					}
					if (y_laser < 5 || y_laser > 480)  {
						BSP_LCD_DrawBitmap(x_laser-15,y_laser,laser_slave_end);
						laser_lcd_flag = false;
					}
				}
			}
		}
		else {
			Error_Handler();
		}
	}
}

void invaders_sdr (void *parameters) {
	int16_t x_start = 252;
	int16_t y_start = 80;
	int8_t rows_right = 0;
	int8_t rows_left = 0;
	int8_t direction = 1;
	int8_t x_steps = 0;
	int8_t y_steps = 0;
	bool flag_y_steps = false;
	uint8_t ctr_shot = 0;

	for (int c = 0; c < 11; c++) {		//board init
		for (int l = 0; l < 5; l++) {
			invader[c][l].status = LIVE;
		}
	}
	portTickType xNextWakeTime;

	portTickType xCycleFrequency = 800 / portTICK_RATE_MS;
	xNextWakeTime = xTaskGetTickCount ();

	for (;;) {
		if (flag_endgame == true) {

			if (flag_y_steps == true) {
				y_steps++;
				flag_y_steps = false;
			}
			if(direction == 1 ) { // Right direction
				BSP_LCD_SetTextColor(LCD_COLOR_BLACK);
				BSP_LCD_FillRect(160,0,619,480);
				x_steps ++;
				rows_right = 0;
				for (int c = 10; c >= 0; c--) {
					rows_right++;
					for (int l = 5; l >= 0; l--) {
						if (invader[c][l].status == LIVE) {
							if(x_steps == 8 * rows_right) {
								flag_y_steps = true;
								direction = -1;
							}
						}
					}
				}
			}

			if(direction == -1 ) { // Left Direction
				BSP_LCD_SetTextColor(LCD_COLOR_BLACK);
				BSP_LCD_FillRect(160,0,619,480);
				x_steps --;
				rows_left = 0;
				for (int c = 0; c < 11; c++) {
					rows_left++;
					for (int l = 0; l < 5; l++) {
						if (invader[c][l].status == LIVE) {
							if(x_steps == (-8) * rows_left) {
								flag_y_steps = true;
								direction = 1;
							}
						}
					}
				}
			}
			for (int c = 0; c < 11; c++) { // 2nd and 3rd row of invaders
				for (int l = 0; l < 5; l++) {
					if (invader[c][l].status == LIVE) {
						invader[c][l].x = x_start+(45*c)+(x_unit_px*x_steps);
						invader[c][l].y = y_start+(50*l)+(y_unit_px*y_steps);
						if (x_steps %2 == 0 && l==0) {
							BSP_LCD_DrawBitmap(invader[c][l].x,invader[c][l].y,invader_a1);
						}
						else if (l==0)
						{
							BSP_LCD_DrawBitmap(invader[c][l].x,invader[c][l].y,invader_a2);
						}
						if (x_steps %2 == 0 && (l==1 || l==2)){
							BSP_LCD_DrawBitmap(invader[c][l].x,invader[c][l].y,invader_b1);
						}
						else if (l==1 || l==2)
						{
							BSP_LCD_DrawBitmap(invader[c][l].x,invader[c][l].y,invader_b2);
						}
						if(x_steps%2 ==0 && (l==3 || l==4)){
							BSP_LCD_DrawBitmap(invader[c][l].x,invader[c][l].y,invader_c1);
						}
						else if(l==3 || l==4) {
							BSP_LCD_DrawBitmap(invader[c][l].x,invader[c][l].y,invader_c2);
						}
					}
				}
			}

			for (int c = 0; c < 11; c++) {
				for (int l = 0; l < 5; l++) {
					if (invader[c][l].status == DESTROYED) {
						invader[c][l].status = OFF;
					}
					if (invader[c][l].status == SHOT) {
						BSP_LCD_DrawBitmap(x_start+(45*c)+(x_unit_px*x_steps),y_start+(50*l)+(y_unit_px*y_steps),invader_dstroy);
						invader[c][l].status = DESTROYED;
						ctr_shot++;
					}
					if (ctr_shot == 55) {
						flag_endgame = false;
					}
					if (invader[c][l].status == LIVE) {
						if (invader[c][l].y >= 430) {
							flag_endgame = false;
						}
					}
				}
			}
			if(ctr_shot == 6) {
				xCycleFrequency = 700;
			}
			if(ctr_shot == 12) {
				xCycleFrequency = 600;
			}

			if(ctr_shot == 18) {
				xCycleFrequency = 500;
			}
			if(ctr_shot == 24) {
				xCycleFrequency = 400;
			}
			if(ctr_shot == 30) {
				xCycleFrequency = 300;
			}
			if(ctr_shot == 36) {
				xCycleFrequency = 200;
			}
			if(ctr_shot == 42) {
				xCycleFrequency = 100;
			}

			if(ctr_shot == 48) {
				xCycleFrequency = 50;
			}
			if(ctr_shot >= 54) {
				xCycleFrequency = 25;
			}
		}
		vTaskDelayUntil(&xNextWakeTime, xCycleFrequency);
	}
}

void send_slave_UART(void * parameters) { /* Enviar Joystick Slave para ARM Master */
	for (int i = 0; i < 200; i++) {
		data2send[i] = ' ';
	}
	portTickType xNextWakeTime;

	const portTickType xCycleFrequency = 20 / portTICK_RATE_MS;
	xNextWakeTime = xTaskGetTickCount ();

	HAL_UART_Transmit_DMA(&huart6, data2send, 200);
	for (;;){

		if (flag_half_tx_DMA == true) {
			flag_half_tx_DMA = false;
			data2send[0] = 'x';
			data2send[1] = x_master;
			data2send[2] = 'y';
			data2send[3] = y_master;

		}

		if (flag_tx_DMA == true) {
			flag_tx_DMA = false;

			data2send[4] = 'x';
			data2send[5] = x_laser;

			data2send[6] = 'y';
			data2send[7] = y_laser;
		}
		vTaskDelayUntil(&xNextWakeTime, xCycleFrequency);
	}
}

void receive_slave_joystick_UART(void * parameters) { /* Receber X de Joystick de ARM Slave*/ //
	Joystick joystick_x;
	joystick_x.id = X_AXIS;
	Joystick joystick_a;
	joystick_a.id = A_BUTTON;

	portTickType xNextWakeTime;
	const portTickType xTicksToWait = 0 / portTICK_RATE_MS;
	const portTickType xCycleFrequency = 20 / portTICK_RATE_MS;
	xNextWakeTime = xTaskGetTickCount ();
	for (int i = 0; i < 4; i++) {
		data2receive[i] = '0';
	}
	HAL_UART_Receive_DMA(&huart6, data2receive, 4);

	for (;;){
		//				if (flag_half_rx_DMA == true) {
		//					flag_half_rx_DMA = false;
		//					for (int i = 0; i < 2; i++) {
		//						if (data2receive[i] == 'x') {
		//							joystick_x.val = data2receive[i+1];
		//							sprintf(a, "X_AXIS = %d", data2receive[i+1]);
		//								BSP_LCD_SetTextColor(LCD_COLOR_GREEN);
		//								BSP_LCD_DisplayStringAt(0, 200, (int*)a, LEFT_MODE);
		//							xQueueSendToBack(xQueue_joy_slave, &joystick_x, xTicksToWait);
		//						}
		//
		//					}
		//				}
		//				if (flag_rx_DMA == true) {
		//					flag_rx_DMA = false;
		//					HAL_UART_Receive_DMA(&huart6, data2receive, 4);
		//					for (int i = 2; i < 4; i++) {
		//						if (data2receive[i] == 'a') {
		//							joystick_a.val = data2receive[i+1];
		//							printf(y, "A_BUTTON = %d", data2receive[i+1]);
		//							BSP_LCD_SetTextColor(LCD_COLOR_GREEN);
		//							BSP_LCD_DisplayStringAt(0, 300, (int*)y, LEFT_MODE);
		//							xQueueSendToBack(xQueue_joy_slave, &joystick_a, xTicksToWait);
		//						}
		//					}
		//				}

		if (flag_rx_DMA == true) {
			flag_rx_DMA = false;
			HAL_UART_Receive_DMA(&huart6, data2receive, 4);
			for (int i = 0; i < 4; i++) {
				if (data2receive[i] == 'a') {
					joystick_a.val = data2receive[i+1];

					xQueueSendToBack(xQueue_joy_slave, &joystick_a, xTicksToWait);
				}
				if (data2receive[i] == 'x') {
					if (i == 3) {

						joystick_x.val = data2receive[i];
					}
					else {
						xQueueSendToBack(xQueue_joy_slave, &joystick_x, xTicksToWait);
					}

				}
			}
		}
		vTaskDelayUntil(&xNextWakeTime, xCycleFrequency);
	}
}

void DMA1_Stream6_IRQHandler(void)
{
  HAL_DMA_IRQHandler(&hdma_usart6_tx);
}

void HAL_UART_TxCpltCallback(UART_HandleTypeDef *huart)
{
	if (huart == &huart6) {
		flag_tx_DMA = true;
	}
}

void HAL_UART_TxHalfCpltCallback(UART_HandleTypeDef *huart)
{
	if (huart == &huart6) {
		flag_half_tx_DMA = true;
	}
}

void HAL_UART_RxCpltCallback(UART_HandleTypeDef *huart)
{
	if (huart == &huart6) {
		flag_rx_DMA = true;
	}
}

void HAL_UART_RxHalfCpltCallback(UART_HandleTypeDef *huart)
{
	if (huart == &huart6) {
		flag_half_rx_DMA = true;
	}
}

/* USER CODE END 4 */

void StartIdleTask(void const * argument)
{

	for(;;)
	{
		osDelay(1);
	}
}

void HAL_TIM_PeriodElapsedCallback(TIM_HandleTypeDef *htim)
{
  if (htim->Instance == TIM7) {
    HAL_IncTick();
  }
}

void Error_Handler(void)
{
  /* USER CODE BEGIN Error_Handler_Debug */
	BSP_LED_On(LED2);
	/* User can add his own implementation to report the HAL error return state */

  /* USER CODE END Error_Handler_Debug */
}

/************************ (C) COPYRIGHT STMicroelectronics *****END OF FILE****/
